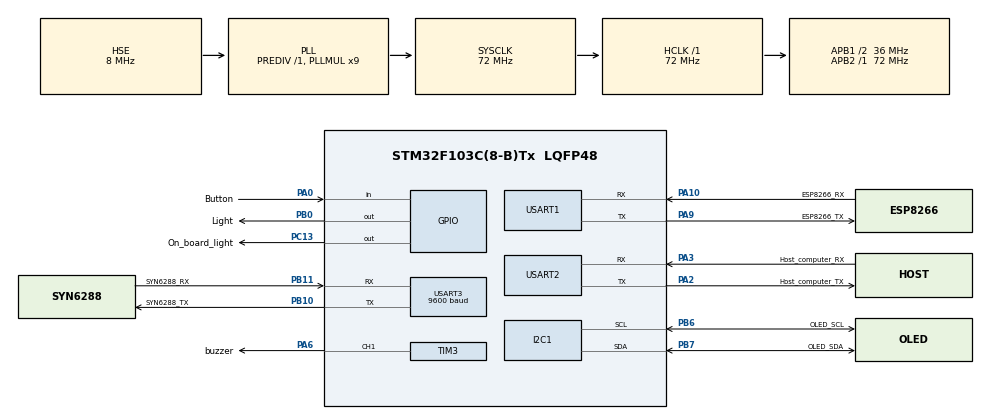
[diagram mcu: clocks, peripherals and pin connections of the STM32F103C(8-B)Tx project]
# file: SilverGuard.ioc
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IWDG.Prescaler=IWDG_PRESCALER_64
Mcu.Family=STM32F1
Mcu.Name=STM32F103C(8-B)Tx
Mcu.Package=LQFP48
NVIC.PriorityGroup=NVIC_PRIORITYGROUP_4
NVIC.TIM2_IRQn=true\:15\:0\:true\:false\:true\:true\:true\:true
NVIC.USART1_IRQn=true\:5\:0\:true\:false\:true\:true\:true\:true
NVIC.USART2_IRQn=true\:5\:0\:true\:false\:true\:true\:true\:true
NVIC.USART3_IRQn=true\:5\:0\:true\:false\:true\:true\:true\:true
PA0-WKUP.GPIO_Label=Button
PA0-WKUP.GPIO_PuPd=GPIO_PULLUP
PA0-WKUP.Signal=GPIO_Input
PA10.GPIO_Label=ESP8266_RX
PA10.Mode=Asynchronous
PA10.Signal=USART1_RX
PA13.Mode=Serial_Wire
PA13.Signal=SYS_JTMS-SWDIO
PA14.Mode=Serial_Wire
PA14.Signal=SYS_JTCK-SWCLK
PA2.GPIO_Label=Host_computer_TX
PA2.Mode=Asynchronous
PA2.Signal=USART2_TX
PA3.GPIO_Label=Host_computer_RX
PA3.Mode=Asynchronous
PA3.Signal=USART2_RX
PA6.GPIO_Label=buzzer
PA6.Signal=S_TIM3_CH1
PA9.GPIO_Label=ESP8266_TX
PA9.Mode=Asynchronous
PA9.Signal=USART1_TX
PB0.GPIO_Label=Light
PB0.Signal=GPIO_Output
PB10.GPIO_Label=SYN6288_TX
PB10.Mode=Asynchronous
PB10.Signal=USART3_TX
PB11.GPIO_Label=SYN6288_RX
PB11.Mode=Asynchronous
PB11.Signal=USART3_RX
PB6.GPIO_Label=OLED_SCL
PB6.Mode=I2C
PB6.Signal=I2C1_SCL
PB7.GPIO_Label=OLED_SDA
PB7.Mode=I2C
PB7.Signal=I2C1_SDA
PC13-TAMPER-RTC.GPIO_Label=On_board_light
PC13-TAMPER-RTC.Signal=GPIO_Output
PD0-OSC_IN.Mode=HSE-External-Oscillator
PD0-OSC_IN.Signal=RCC_OSC_IN
PD1-OSC_OUT.Mode=HSE-External-Oscillator
PD1-OSC_OUT.Signal=RCC_OSC_OUT
ProjectManager.HeapSize=0x200
ProjectManager.StackSize=0x400
ProjectManager.TargetToolchain=MDK-ARM V5.32
RCC.AHBFreq_Value=72000000
RCC.APB1CLKDivider=RCC_HCLK_DIV2
RCC.APB1Freq_Value=36000000
RCC.APB1TimFreq_Value=72000000
RCC.APB2Freq_Value=72000000
RCC.APB2TimFreq_Value=72000000
RCC.HCLKFreq_Value=72000000
RCC.PLLMUL=RCC_PLL_MUL9
RCC.PLLSourceVirtual=RCC_PLLSOURCE_HSE
RCC.SYSCLKFreq_VALUE=72000000
RCC.SYSCLKSource=RCC_SYSCLKSOURCE_PLLCLK
RCC.USBFreq_Value=72000000
SH.S_TIM3_CH1.0=TIM3_CH1,PWM Generation1 CH1
TIM2.AutoReloadPreload=TIM_AUTORELOAD_PRELOAD_ENABLE
TIM2.Period=999
TIM2.Prescaler=71
TIM3.AutoReloadPreload=TIM_AUTORELOAD_PRELOAD_ENABLE
TIM3.Channel-PWM\ Generation1\ CH1=TIM_CHANNEL_1
TIM3.Period=332
TIM3.Prescaler=71
USART1.VirtualMode=VM_ASYNC
USART2.VirtualMode=VM_ASYNC
USART3.BaudRate=9600
USART3.VirtualMode=VM_ASYNC
VP_IWDG_VS_IWDG.Mode=IWDG_Activate
VP_TIM2_VS_ClockSourceINT.Mode=Internal
VP_TIM3_VS_ClockSourceINT.Mode=Internal
board=custom

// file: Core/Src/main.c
/* USER CODE BEGIN Header */
/**
  ******************************************************************************
  * @file           : main.c
  * @brief          : Main program body
  ******************************************************************************
  * @attention
  *
  * Copyright (c) 2026 STMicroelectronics.
  * All rights reserved.
  *
  * This software is licensed under terms that can be found in the LICENSE file
  * in the root directory of this software component.
  * If no LICENSE file comes with this software, it is provided AS-IS.
  *
  ******************************************************************************
  */
/* USER CODE END Header */
#include "main.h"

/* USER CODE BEGIN Includes */
#include <stdbool.h>
#include <string.h>
#include "driver_ssd1306_interface.h"
#include "oled_hz.h"
#include "voice_text.h"
#include "siren_tab.h"
#include "net_secret.h"
/* USER CODE END Includes */

/* USER CODE BEGIN PTD */
#define NET_Q 8
#define NET_RXQ 512

static volatile uint8_t net_rx[NET_RXQ];
static volatile uint16_t net_rx_head;
static volatile uint16_t net_rx_tail;
static uint8_t net_rx8;

typedef enum {/*state_type*/
	offline,
	standby,
	checking,
	pre_alarm,
	alarm,
	alarm_cancel,
} state_type;

typedef enum {/*button_type*/
	idle,
	debounce,
	pressed,
	triggered,
} button_type;

typedef enum {/*led_mode_type*/
	led_on,
	led_off,
} led_mode_type;

typedef enum {/*warn_mode_type*/
	warn_off,
	warn_on,
} warn_mode_type;

typedef enum {/*buzz_mode_type*/
	buzz_off,
	buzz_siren,
} buzz_mode_type;

typedef enum {/*screen_type*/
	scr_offline,
	scr_online,
	scr_checking,
	scr_prealarm,
	scr_alarm,
	scr_cancel,
} screen_type;

typedef enum {/*voice_type*/
	voice_none,
	voice_prealarm,
	voice_alarm,
	voice_cancel,
} voice_type;

typedef enum {/*net_type*/
	net_none,
	net_offline,
	net_online,
	net_alarm,
	net_cancel,
} net_type;

typedef struct {/*state_handle*/
	state_type state;
	uint32_t tick;
	bool flag;
	bool standby_enter;
	bool checking_enter;
	bool pre_alarm_enter;
	bool alarm_enter;
	bool alarm_cancel_enter;
	bool cancel_silent;
	bool offline_enter;
} state_handle;

typedef struct {/*signle_handle*/
	uint8_t windows[5];
	uint8_t output;
	bool flag;
} signle_handle;

typedef struct {/*button_handle*/
	button_type button;
	uint32_t tick;
} button_handle;

typedef struct {/*net_handle*/
	uint8_t state;
	uint8_t hit;
	uint8_t stage;
	uint8_t retry;
	uint8_t head;
	uint8_t tail;
	uint8_t dirty;
	uint32_t timeout;
	uint32_t backoff;
	uint32_t tick;
	const char *last;
	const char *box[NET_Q];
	uint8_t frame[64];
	uint8_t frame_len;
} net_handle;

typedef struct {/*hardware_handle*/
	warn_mode_type light_mode;
	buzz_mode_type buzz_mode;
	ssd1306_handle_t oled;
} hardware_handle;

/* USER CODE END PTD */

/* USER CODE BEGIN PD */

#define NET_TOPIC "SilverGuard_3Xu"
#define MQTT_CLIENT "sg-module-01"
#define BKP_PRE   0xA501
#define BKP_ALARM 0xA502

/* USER CODE END PD */

I2C_HandleTypeDef hi2c1;

IWDG_HandleTypeDef hiwdg;

TIM_HandleTypeDef htim2;
TIM_HandleTypeDef htim3;

UART_HandleTypeDef huart1;
UART_HandleTypeDef huart2;
UART_HandleTypeDef huart3;

/* USER CODE BEGIN PV */
uint32_t now;
state_handle st;
signle_handle sg;
button_handle bt;
net_handle nt;
hardware_handle hd;
/* USER CODE END PV */

void SystemClock_Config(void);
static void MX_GPIO_Init(void);
static void MX_I2C1_Init(void);
static void MX_IWDG_Init(void);
static void MX_TIM3_Init(void);
static void MX_USART1_UART_Init(void);
static void MX_USART2_UART_Init(void);
static void MX_USART3_UART_Init(void);
static void MX_TIM2_Init(void);
/* USER CODE BEGIN PFP */
/*状态机流转*/
static void main_state_machine(void);
static uint8_t analyze_data(uint8_t content[], uint8_t len);
static void detect_button(void);
static void distribute(void);
/*实现层*/
static void on_board_light(led_mode_type mode);
static void oled(screen_type screen);
static void warning_light(warn_mode_type mode);
static void buzzer(buzz_mode_type mode);
static void SYN6288(voice_type voice);
static void ESP8266(net_type net);
/*中断回调函数*/
void HAL_UART_RxCpltCallback(UART_HandleTypeDef *huart);
void HAL_TIM_PeriodElapsedCallback(TIM_HandleTypeDef *htim);
/*辅助函数*/
/*板载灯（PC13）*/
static void led_lighted(led_mode_type led);
/*报警灯（PB0）*/
static void light_lighted(led_mode_type led);
/*OLED（I2C1）*/
static void draw_hz16(uint8_t x, uint8_t y, const uint8_t *glyph);
static void draw_hz16_line(uint8_t x, uint8_t y, const uint8_t *const *glyphs, uint8_t count);
static void oled_init(void);
/*时间片调制（蜂鸣器/报警灯）*/
static void modulate(void);
/*语音（USART3）*/
static void voice_send(const uint8_t *text, uint16_t len);
/*网络（USART1）*/
static void net_flush(void);
static void net_send(const char *cmd);
static uint8_t net_poll(const char *token);
static uint8_t net_len(uint8_t *p, uint16_t v);
static void net_frame_connect(void);
static void net_frame_pub(const char *payload);
static void net_raw_start(void);
static uint8_t net_raw_task(void);
static void net_start(uint8_t step);
static void net_put(const char *msg);
static void net_fail(void);
static void net_task(void);
/*报警记忆（BKP）*/
static void alarm_keep(state_type state);
/*状态簿记*/
static void set_state(state_type state);
/*初始化*/
static void init(void);
/* USER CODE END PFP */

int main(void)
{

  /* MCU Configuration--------------------------------------------------------*/

  /* Reset of all peripherals, Initializes the Flash interface and the Systick. */
  HAL_Init();

  /* Configure the system clock */
  SystemClock_Config();

  /* Initialize all configured peripherals */
  MX_GPIO_Init();
  MX_I2C1_Init();
  MX_IWDG_Init();
  MX_TIM3_Init();
  MX_USART1_UART_Init();
  MX_USART2_UART_Init();
  MX_USART3_UART_Init();
  MX_TIM2_Init();
  /* USER CODE BEGIN 2 */
  init();
  oled_init();
  HAL_UART_Receive_IT(&huart2, &sg.windows[0], 1);
  HAL_UART_Receive_IT(&huart1, &net_rx8, 1);
  HAL_TIM_Base_Start_IT(&htim2);
  HAL_TIM_PWM_Start(&htim3, TIM_CHANNEL_1);
  /* USER CODE END 2 */

  /* Infinite loop */
  while (1)
  {

    /* USER CODE BEGIN 3 */
    now = HAL_GetTick();
    detect_button();
    main_state_machine();
    distribute();
    modulate();
    net_task();
    HAL_IWDG_Refresh(&hiwdg);
  }
  /* USER CODE END 3 */
}

void SystemClock_Config(void)
{
  RCC_OscInitTypeDef RCC_OscInitStruct = {0};
  RCC_ClkInitTypeDef RCC_ClkInitStruct = {0};

  /** Initializes the RCC Oscillators according to the specified parameters
  * in the RCC_OscInitTypeDef structure.
  */
  RCC_OscInitStruct.OscillatorType = RCC_OSCILLATORTYPE_LSI|RCC_OSCILLATORTYPE_HSE;
  RCC_OscInitStruct.HSEState = RCC_HSE_ON;
  RCC_OscInitStruct.HSEPredivValue = RCC_HSE_PREDIV_DIV1;
  RCC_OscInitStruct.HSIState = RCC_HSI_ON;
  RCC_OscInitStruct.LSIState = RCC_LSI_ON;
  RCC_OscInitStruct.PLL.PLLState = RCC_PLL_ON;
  RCC_OscInitStruct.PLL.PLLSource = RCC_PLLSOURCE_HSE;
  RCC_OscInitStruct.PLL.PLLMUL = RCC_PLL_MUL9;
  if (HAL_RCC_OscConfig(&RCC_OscInitStruct) != HAL_OK)
  {
    Error_Handler();
  }

  /** Initializes the CPU, AHB and APB buses clocks
  */
  RCC_ClkInitStruct.ClockType = RCC_CLOCKTYPE_HCLK|RCC_CLOCKTYPE_SYSCLK
                              |RCC_CLOCKTYPE_PCLK1|RCC_CLOCKTYPE_PCLK2;
  RCC_ClkInitStruct.SYSCLKSource = RCC_SYSCLKSOURCE_PLLCLK;
  RCC_ClkInitStruct.AHBCLKDivider = RCC_SYSCLK_DIV1;
  RCC_ClkInitStruct.APB1CLKDivider = RCC_HCLK_DIV2;
  RCC_ClkInitStruct.APB2CLKDivider = RCC_HCLK_DIV1;

  if (HAL_RCC_ClockConfig(&RCC_ClkInitStruct, FLASH_LATENCY_2) != HAL_OK)
  {
    Error_Handler();
  }
}

static void MX_I2C1_Init(void)
{

  hi2c1.Instance = I2C1;
  hi2c1.Init.ClockSpeed = 100000;
  hi2c1.Init.DutyCycle = I2C_DUTYCYCLE_2;
  hi2c1.Init.OwnAddress1 = 0;
  hi2c1.Init.AddressingMode = I2C_ADDRESSINGMODE_7BIT;
  hi2c1.Init.DualAddressMode = I2C_DUALADDRESS_DISABLE;
  hi2c1.Init.OwnAddress2 = 0;
  hi2c1.Init.GeneralCallMode = I2C_GENERALCALL_DISABLE;
  hi2c1.Init.NoStretchMode = I2C_NOSTRETCH_DISABLE;
  if (HAL_I2C_Init(&hi2c1) != HAL_OK)
  {
    Error_Handler();
  }

}

static void MX_IWDG_Init(void)
{

  hiwdg.Instance = IWDG;
  hiwdg.Init.Prescaler = IWDG_PRESCALER_64;
  hiwdg.Init.Reload = 4095;
  if (HAL_IWDG_Init(&hiwdg) != HAL_OK)
  {
    Error_Handler();
  }

}

static void MX_TIM2_Init(void)
{

  TIM_ClockConfigTypeDef sClockSourceConfig = {0};
  TIM_MasterConfigTypeDef sMasterConfig = {0};

  htim2.Instance = TIM2;
  htim2.Init.Prescaler = 71;
  htim2.Init.CounterMode = TIM_COUNTERMODE_UP;
  htim2.Init.Period = 999;
  htim2.Init.ClockDivision = TIM_CLOCKDIVISION_DIV1;
  htim2.Init.AutoReloadPreload = TIM_AUTORELOAD_PRELOAD_ENABLE;
  if (HAL_TIM_Base_Init(&htim2) != HAL_OK)
  {
    Error_Handler();
  }
  sClockSourceConfig.ClockSource = TIM_CLOCKSOURCE_INTERNAL;
  if (HAL_TIM_ConfigClockSource(&htim2, &sClockSourceConfig) != HAL_OK)
  {
    Error_Handler();
  }
  sMasterConfig.MasterOutputTrigger = TIM_TRGO_RESET;
  sMasterConfig.MasterSlaveMode = TIM_MASTERSLAVEMODE_DISABLE;
  if (HAL_TIMEx_MasterConfigSynchronization(&htim2, &sMasterConfig) != HAL_OK)
  {
    Error_Handler();
  }

}

static void MX_TIM3_Init(void)
{

  TIM_ClockConfigTypeDef sClockSourceConfig = {0};
  TIM_MasterConfigTypeDef sMasterConfig = {0};
  TIM_OC_InitTypeDef sConfigOC = {0};

  htim3.Instance = TIM3;
  htim3.Init.Prescaler = 71;
  htim3.Init.CounterMode = TIM_COUNTERMODE_UP;
  htim3.Init.Period = 332;
  htim3.Init.ClockDivision = TIM_CLOCKDIVISION_DIV1;
  htim3.Init.AutoReloadPreload = TIM_AUTORELOAD_PRELOAD_ENABLE;
  if (HAL_TIM_Base_Init(&htim3) != HAL_OK)
  {
    Error_Handler();
  }
  sClockSourceConfig.ClockSource = TIM_CLOCKSOURCE_INTERNAL;
  if (HAL_TIM_ConfigClockSource(&htim3, &sClockSourceConfig) != HAL_OK)
  {
    Error_Handler();
  }
  if (HAL_TIM_PWM_Init(&htim3) != HAL_OK)
  {
    Error_Handler();
  }
  sMasterConfig.MasterOutputTrigger = TIM_TRGO_RESET;
  sMasterConfig.MasterSlaveMode = TIM_MASTERSLAVEMODE_DISABLE;
  if (HAL_TIMEx_MasterConfigSynchronization(&htim3, &sMasterConfig) != HAL_OK)
  {
    Error_Handler();
  }
  sConfigOC.OCMode = TIM_OCMODE_PWM1;
  sConfigOC.Pulse = 333;
  sConfigOC.OCPolarity = TIM_OCPOLARITY_HIGH;
  sConfigOC.OCFastMode = TIM_OCFAST_DISABLE;
  if (HAL_TIM_PWM_ConfigChannel(&htim3, &sConfigOC, TIM_CHANNEL_1) != HAL_OK)
  {
    Error_Handler();
  }
  HAL_TIM_MspPostInit(&htim3);

}

static void MX_USART1_UART_Init(void)
{

  huart1.Instance = USART1;
  huart1.Init.BaudRate = 115200;
  huart1.Init.WordLength = UART_WORDLENGTH_8B;
  huart1.Init.StopBits = UART_STOPBITS_1;
  huart1.Init.Parity = UART_PARITY_NONE;
  huart1.Init.Mode = UART_MODE_TX_RX;
  huart1.Init.HwFlowCtl = UART_HWCONTROL_NONE;
  huart1.Init.OverSampling = UART_OVERSAMPLING_16;
  if (HAL_UART_Init(&huart1) != HAL_OK)
  {
    Error_Handler();
  }

}

static void MX_USART2_UART_Init(void)
{

  huart2.Instance = USART2;
  huart2.Init.BaudRate = 115200;
  huart2.Init.WordLength = UART_WORDLENGTH_8B;
  huart2.Init.StopBits = UART_STOPBITS_1;
  huart2.Init.Parity = UART_PARITY_NONE;
  huart2.Init.Mode = UART_MODE_TX_RX;
  huart2.Init.HwFlowCtl = UART_HWCONTROL_NONE;
  huart2.Init.OverSampling = UART_OVERSAMPLING_16;
  if (HAL_UART_Init(&huart2) != HAL_OK)
  {
    Error_Handler();
  }

}

static void MX_USART3_UART_Init(void)
{

  huart3.Instance = USART3;
  huart3.Init.BaudRate = 9600;
  huart3.Init.WordLength = UART_WORDLENGTH_8B;
  huart3.Init.StopBits = UART_STOPBITS_1;
  huart3.Init.Parity = UART_PARITY_NONE;
  huart3.Init.Mode = UART_MODE_TX_RX;
  huart3.Init.HwFlowCtl = UART_HWCONTROL_NONE;
  huart3.Init.OverSampling = UART_OVERSAMPLING_16;
  if (HAL_UART_Init(&huart3) != HAL_OK)
  {
    Error_Handler();
  }

}

static void MX_GPIO_Init(void)
{
  GPIO_InitTypeDef GPIO_InitStruct = {0};

  /* GPIO Ports Clock Enable */
  __HAL_RCC_GPIOC_CLK_ENABLE();
  __HAL_RCC_GPIOD_CLK_ENABLE();
  __HAL_RCC_GPIOA_CLK_ENABLE();
  __HAL_RCC_GPIOB_CLK_ENABLE();

  /*Configure GPIO pin Output Level */
  HAL_GPIO_WritePin(On_board_light_GPIO_Port, On_board_light_Pin, GPIO_PIN_RESET);

  /*Configure GPIO pin Output Level */
  HAL_GPIO_WritePin(Light_GPIO_Port, Light_Pin, GPIO_PIN_RESET);

  /*Configure GPIO pin : On_board_light_Pin */
  GPIO_InitStruct.Pin = On_board_light_Pin;
  GPIO_InitStruct.Mode = GPIO_MODE_OUTPUT_PP;
  GPIO_InitStruct.Pull = GPIO_NOPULL;
  GPIO_InitStruct.Speed = GPIO_SPEED_FREQ_LOW;
  HAL_GPIO_Init(On_board_light_GPIO_Port, &GPIO_InitStruct);

  /*Configure GPIO pin : Button_Pin */
  GPIO_InitStruct.Pin = Button_Pin;
  GPIO_InitStruct.Mode = GPIO_MODE_INPUT;
  GPIO_InitStruct.Pull = GPIO_PULLUP;
  HAL_GPIO_Init(Button_GPIO_Port, &GPIO_InitStruct);

  /*Configure GPIO pin : Light_Pin */
  GPIO_InitStruct.Pin = Light_Pin;
  GPIO_InitStruct.Mode = GPIO_MODE_OUTPUT_PP;
  GPIO_InitStruct.Pull = GPIO_NOPULL;
  GPIO_InitStruct.Speed = GPIO_SPEED_FREQ_LOW;
  HAL_GPIO_Init(Light_GPIO_Port, &GPIO_InitStruct);

}

/* USER CODE BEGIN 4 */
/*状态机流转*/

static void main_state_machine(void)
{
	if (st.flag == 1 && (st.state == standby || st.state == checking))
		set_state(offline);
	switch(st.state){
	case standby:
		if (bt.button == triggered)
			set_state(alarm);
		else if (sg.output == 1)
			set_state(checking);
		break;
	case checking:
		if (bt.button == triggered)
			set_state(alarm);
		else if (sg.output == 0)
			set_state(standby);
		else if (now - st.tick >= 5000)
			set_state(pre_alarm);
		break;
	case pre_alarm:
		if (bt.button == triggered){
			st.cancel_silent = 1;
			set_state(alarm_cancel);}
		else if (now - st.tick >= 10000)
			set_state(alarm);
		break;
	case alarm:
		if (bt.button == triggered){
			st.cancel_silent = 0;
			set_state(alarm_cancel);}
		break;
	case alarm_cancel:
		if (now - st.tick >= 3000){
			if (st.flag == 1)
				set_state(offline);
			else if (sg.output == 1)
				set_state(checking);
			else
				set_state(standby);}
		break;
	case offline:
		if (bt.button == triggered)
			set_state(alarm);
		else if (st.flag == 0){
			if (sg.output == 1)
				set_state(checking);
			else if (sg.output == 0)
				set_state(standby);
		}
	}
}

static uint8_t analyze_data(uint8_t content[], uint8_t len)
{
	uint8_t i;
	for(i = 1; i < len; i++){
		if (content[i] != content[0]){
			return sg.output;}
		}
	return content[0];
}

static void detect_button(void)
{
	uint8_t level = HAL_GPIO_ReadPin(Button_GPIO_Port, Button_Pin);
	switch (bt.button){
	case idle:
		if (level == GPIO_PIN_RESET){
			bt.tick = HAL_GetTick();
			bt.button = debounce;}
		break;
	case debounce:
		if (now - bt.tick >= 20){
			if (level == GPIO_PIN_RESET){
				bt.button = pressed;
				bt.tick = HAL_GetTick();}
			else {
				bt.button = idle;}
			}
			break;
	case pressed:
		if (now - bt.tick >= 1000){
			bt.button = triggered;}
		else if (level == GPIO_PIN_SET){
			bt.button = idle;}
		break;
	case triggered:
		bt.button = idle;
		break;
	}
}

static void distribute(void)
{
	if (st.standby_enter){
		st.standby_enter = 0;
		oled(scr_online);
		warning_light(warn_off);
		buzzer(buzz_off);
		SYN6288(voice_none);
		ESP8266(net_online);}
	if (st.checking_enter){
		st.checking_enter = 0;
		oled(scr_checking);
		warning_light(warn_off);
		buzzer(buzz_off);
		SYN6288(voice_none);
		ESP8266(net_online);}
	if (st.pre_alarm_enter){
		st.pre_alarm_enter = 0;
		oled(scr_prealarm);
		warning_light(warn_on);
		buzzer(buzz_off);
		SYN6288(voice_prealarm);
		ESP8266(net_none);}
	if (st.alarm_enter){
		st.alarm_enter = 0;
		oled(scr_alarm);
		warning_light(warn_on);
		buzzer(buzz_siren);
		SYN6288(voice_alarm);
		ESP8266(net_alarm);}
	if (st.alarm_cancel_enter){
		st.alarm_cancel_enter = 0;
		oled(scr_cancel);
		warning_light(warn_off);
		buzzer(buzz_off);
		SYN6288(voice_cancel);
		if (st.cancel_silent == 0)
			ESP8266(net_cancel);}
	if (st.offline_enter){
		st.offline_enter = 0;
		memset(sg.windows, 0xFF, sizeof(sg.windows));
		sg.output = 0xFF;
		oled(scr_offline);
		warning_light(warn_off);
		buzzer(buzz_off);
		SYN6288(voice_none);
		ESP8266(net_offline);}
	on_board_light((st.state == offline || st.flag == 1) ? led_off : led_on);
}

/*实现层*/

static void on_board_light(led_mode_type mode)
{
	static led_mode_type before = led_on;

	if (mode == before)
		return;
	before = mode;
	led_lighted(mode);
}

static void oled(screen_type screen)
{
	static uint8_t before_screen = 0xFF;
	static uint8_t before_flag = 0xFF;
	uint8_t flag = (st.flag == 1) ? 1 : 0;

	if ((uint8_t)screen == before_screen && flag == before_flag)
		return;
	before_screen = (uint8_t)screen;
	before_flag = flag;

	ssd1306_clear(&hd.oled);

	if (screen == scr_offline || st.flag == 1)
		ssd1306_gram_write_string(&hd.oled, 0, 0, "offline", 7, 1, SSD1306_FONT_16);
	else
		ssd1306_gram_write_string(&hd.oled, 0, 0, "online", 6, 1, SSD1306_FONT_16);

	switch(screen){
	case scr_checking:
		draw_hz16_line(0, 16, hz_checking_a, sizeof(hz_checking_a) / sizeof(hz_checking_a[0]));
		draw_hz16_line(0, 32, hz_checking_b, sizeof(hz_checking_b) / sizeof(hz_checking_b[0]));
		break;
	case scr_prealarm:
		draw_hz16_line(0, 16, hz_prealarm_a, sizeof(hz_prealarm_a) / sizeof(hz_prealarm_a[0]));
		draw_hz16_line(0, 32, hz_prealarm_b, sizeof(hz_prealarm_b) / sizeof(hz_prealarm_b[0]));
		draw_hz16_line(0, 48, hz_prealarm_c, sizeof(hz_prealarm_c) / sizeof(hz_prealarm_c[0]));
		break;
	case scr_alarm:
		draw_hz16_line(0, 16, hz_alarm_a, sizeof(hz_alarm_a) / sizeof(hz_alarm_a[0]));
		draw_hz16_line(0, 32, hz_alarm_b, sizeof(hz_alarm_b) / sizeof(hz_alarm_b[0]));
		break;
	case scr_cancel:
		draw_hz16_line(0, 16, hz_cancel_a, sizeof(hz_cancel_a) / sizeof(hz_cancel_a[0]));
		break;
	default:
		break;
	}

	ssd1306_gram_update(&hd.oled);
}

static void warning_light(warn_mode_type mode)
{
	hd.light_mode = mode;
}

static void buzzer(buzz_mode_type mode)
{
	hd.buzz_mode = mode;
	if (mode == buzz_off){
		__HAL_TIM_SET_AUTORELOAD(&htim3, 332);
		__HAL_TIM_SET_COMPARE(&htim3, TIM_CHANNEL_1, 333);}
}

static void SYN6288(voice_type voice)
{
	switch(voice){
	case voice_prealarm:
		voice_send(txt_pre_alarm, sizeof(txt_pre_alarm));
		break;
	case voice_alarm:
		voice_send(txt_alarm, sizeof(txt_alarm));
		break;
	case voice_cancel:
		voice_send(txt_cancel, sizeof(txt_cancel));
		break;
	default:
		break;
	}
}

static void ESP8266(net_type net)
{
	const char *msg;

	switch(net){
	case net_offline:
		msg = "offline";
		break;
	case net_online:
		msg = "online";
		break;
	case net_alarm:
		msg = "1";
		break;
	case net_cancel:
		msg = "0";
		break;
	default:
		return;
	}

	if (msg == nt.last)
		return;

	nt.last = msg;
	net_put(msg);
}

/*中断回调函数*/

void HAL_UART_RxCpltCallback(UART_HandleTypeDef *huart)
{
	if (huart->Instance == USART2){
		sg.flag = 1;
		sg.output = analyze_data(sg.windows, 5);
		uint8_t i;
		for(i = 4; i > 0; i--){
			sg.windows[i] = sg.windows[i-1];}
		sg.windows[0] = 0xFF;
		HAL_UART_Receive_IT(&huart2, &sg.windows[0], 1);
		}
	else if (huart->Instance == USART1){
		uint16_t next = (uint16_t)((net_rx_head + 1) % NET_RXQ);
		if (next != net_rx_tail){
			net_rx[net_rx_head] = net_rx8;
			net_rx_head = next;
		}
		HAL_UART_Receive_IT(&huart1, &net_rx8, 1);
		}
}

void HAL_UART_ErrorCallback(UART_HandleTypeDef *huart)
{
	if (huart->Instance == USART1){
		__HAL_UART_CLEAR_OREFLAG(huart);
		__HAL_UART_CLEAR_FEFLAG(huart);
		__HAL_UART_CLEAR_NEFLAG(huart);
		__HAL_UART_CLEAR_PEFLAG(huart);
		HAL_UART_Receive_IT(&huart1, &net_rx8, 1);
	}
	else if (huart->Instance == USART2){
		__HAL_UART_CLEAR_OREFLAG(huart);
		__HAL_UART_CLEAR_FEFLAG(huart);
		__HAL_UART_CLEAR_NEFLAG(huart);
		__HAL_UART_CLEAR_PEFLAG(huart);
		HAL_UART_Receive_IT(&huart2, &sg.windows[0], 1);
	}
}

void HAL_TIM_PeriodElapsedCallback(TIM_HandleTypeDef *htim)
{
	if (htim -> Instance == TIM2){
		static uint8_t i2 = 0;
		i2++;
		if (i2 >= 200){
			i2 = 0;
			if (sg.flag == 1){
				sg.flag = 0;
				st.flag = 0;}
			else {
				st.flag = 1;}
		}
	}
}

/*辅助函数*/

/*板载灯（PC13）*/

static void led_lighted(led_mode_type led_mode)
{
	if (led_mode == led_on)
		HAL_GPIO_WritePin(On_board_light_GPIO_Port, On_board_light_Pin, GPIO_PIN_RESET);
	else
		HAL_GPIO_WritePin(On_board_light_GPIO_Port, On_board_light_Pin, GPIO_PIN_SET);
}

/*报警灯（PB0）*/

static void light_lighted(led_mode_type led_mode)
{
	static led_mode_type before = led_off;

	if (led_mode == before)
		return;
	before = led_mode;

	if (led_mode == led_on)
		HAL_GPIO_WritePin(Light_GPIO_Port, Light_Pin, GPIO_PIN_SET);
	else
		HAL_GPIO_WritePin(Light_GPIO_Port, Light_Pin, GPIO_PIN_RESET);
}

/*OLED（I2C1）*/

static void draw_hz16(uint8_t x, uint8_t y, const uint8_t *glyph)
{
	uint8_t i, bit;

	if ((x + 15 > 127) || (y + 15 > 63)) return;

	for (i = 0; i < 16; i++){
		for (bit = 0; bit < 8; bit++){
			if (glyph[i] & (1 << bit))
				ssd1306_gram_write_point(&hd.oled, x + i, y + bit, 1);
			if (glyph[16 + i] & (1 << bit))
				ssd1306_gram_write_point(&hd.oled, x + i, y + 8 + bit, 1);
		}
	}
}

static void draw_hz16_line(uint8_t x, uint8_t y, const uint8_t *const *glyphs, uint8_t count)
{
	uint8_t i;

	for (i = 0; i < count; i++)
		draw_hz16(x + i * 16, y, glyphs[i]);
}

static void oled_init(void)
{
	DRIVER_SSD1306_LINK_INIT(&hd.oled, ssd1306_handle_t);
	DRIVER_SSD1306_LINK_IIC_INIT(&hd.oled, ssd1306_interface_iic_init);
	DRIVER_SSD1306_LINK_IIC_DEINIT(&hd.oled, ssd1306_interface_iic_deinit);
	DRIVER_SSD1306_LINK_IIC_WRITE(&hd.oled, ssd1306_interface_iic_write);
	DRIVER_SSD1306_LINK_DELAY_MS(&hd.oled, ssd1306_interface_delay_ms);
	DRIVER_SSD1306_LINK_DEBUG_PRINT(&hd.oled, ssd1306_interface_debug_print);
	DRIVER_SSD1306_LINK_SPI_INIT(&hd.oled, ssd1306_interface_spi_init);
	DRIVER_SSD1306_LINK_SPI_DEINIT(&hd.oled, ssd1306_interface_spi_deinit);
	DRIVER_SSD1306_LINK_SPI_WRITE_COMMAND(&hd.oled, ssd1306_interface_spi_write_cmd);
	DRIVER_SSD1306_LINK_SPI_COMMAND_DATA_GPIO_INIT(&hd.oled, ssd1306_interface_spi_cmd_data_gpio_init);
	DRIVER_SSD1306_LINK_SPI_COMMAND_DATA_GPIO_DEINIT(&hd.oled, ssd1306_interface_spi_cmd_data_gpio_deinit);
	DRIVER_SSD1306_LINK_SPI_COMMAND_DATA_GPIO_WRITE(&hd.oled, ssd1306_interface_spi_cmd_data_gpio_write);
	DRIVER_SSD1306_LINK_RESET_GPIO_INIT(&hd.oled, ssd1306_interface_reset_gpio_init);
	DRIVER_SSD1306_LINK_RESET_GPIO_DEINIT(&hd.oled, ssd1306_interface_reset_gpio_deinit);
	DRIVER_SSD1306_LINK_RESET_GPIO_WRITE(&hd.oled, ssd1306_interface_reset_gpio_write);

	ssd1306_set_interface(&hd.oled, SSD1306_INTERFACE_IIC);
	ssd1306_set_addr_pin(&hd.oled, SSD1306_ADDR_SA0_0);
	ssd1306_init(&hd.oled);

	ssd1306_write_cmd(&hd.oled, (uint8_t[]){0xAE}, 1);
	ssd1306_write_cmd(&hd.oled, (uint8_t[]){0xD5, 0x80}, 2);
	ssd1306_write_cmd(&hd.oled, (uint8_t[]){0xA8, 0x3F}, 2);
	ssd1306_write_cmd(&hd.oled, (uint8_t[]){0xD3, 0x00}, 2);
	ssd1306_write_cmd(&hd.oled, (uint8_t[]){0x40}, 1);
	ssd1306_write_cmd(&hd.oled, (uint8_t[]){0x8D, 0x14}, 2);
	ssd1306_write_cmd(&hd.oled, (uint8_t[]){0x20, 0x02}, 2);
	ssd1306_write_cmd(&hd.oled, (uint8_t[]){0xA1}, 1);
	ssd1306_write_cmd(&hd.oled, (uint8_t[]){0xC8}, 1);
	ssd1306_write_cmd(&hd.oled, (uint8_t[]){0xDA, 0x12}, 2);
	ssd1306_write_cmd(&hd.oled, (uint8_t[]){0x81, 0xCF}, 2);
	ssd1306_write_cmd(&hd.oled, (uint8_t[]){0xD9, 0xF1}, 2);
	ssd1306_write_cmd(&hd.oled, (uint8_t[]){0xDB, 0x40}, 2);
	ssd1306_write_cmd(&hd.oled, (uint8_t[]){0xA4, 0xA6}, 2);
	ssd1306_write_cmd(&hd.oled, (uint8_t[]){0xAF}, 1);

	ssd1306_clear(&hd.oled);
	ssd1306_gram_update(&hd.oled);
}

/*时间片调制（蜂鸣器/报警灯）*/

static void modulate(void)
{
	static uint16_t last_arr = 0;
	uint16_t arr;

	if (hd.light_mode == warn_off)
		light_lighted(led_off);
	else
		light_lighted(led_on);

	if (hd.buzz_mode == buzz_off){
		if (last_arr != 0){
			last_arr = 0;
			__HAL_TIM_SET_AUTORELOAD(&htim3, 332);
			__HAL_TIM_SET_COMPARE(&htim3, TIM_CHANNEL_1, 333);}
		return;
	}

	arr = siren_tab[(now % SIREN_T) * SIREN_N / SIREN_T];

	if (arr != last_arr){
		last_arr = arr;
		__HAL_TIM_SET_AUTORELOAD(&htim3, arr);
		__HAL_TIM_SET_COMPARE(&htim3, TIM_CHANNEL_1, arr / 2);}
}

/*语音（USART3）*/

static void voice_send(const uint8_t *text, uint16_t len)
{
	uint8_t frame[48];
	uint16_t n;
	uint16_t i;
	uint8_t ecc = 0;

	if (len > 40)
		return;

	n = len + 3;
	frame[0] = 0xFD;
	frame[1] = (uint8_t)(n >> 8);
	frame[2] = (uint8_t)n;
	frame[3] = 0x01;
	frame[4] = 0x00;
	for (i = 0; i < len; i++)
		frame[5 + i] = text[i];
	for (i = 0; i < 5 + len; i++)
		ecc ^= frame[i];
	frame[5 + len] = ecc;

	HAL_UART_Transmit(&huart3, frame, len + 6, 100);
}

/*网络（USART1）*/

static void net_flush(void)
{
	net_rx_tail = net_rx_head;
}

static void net_send(const char *cmd)
{
	HAL_UART_Transmit(&huart1, (uint8_t *)cmd, (uint16_t)strlen(cmd), 100);
	HAL_UART_Transmit(&huart1, (uint8_t *)"\r\n", 2, 100);
}

static uint8_t net_poll(const char *token)
{
	uint8_t c;
	uint8_t len = (uint8_t)strlen(token);

	while (net_rx_tail != net_rx_head){
		c = net_rx[net_rx_tail];
		net_rx_tail = (uint16_t)((net_rx_tail + 1) % NET_RXQ);
		if (c == token[nt.hit]){
			nt.hit++;
			if (nt.hit >= len){
				nt.hit = 0;
				return 1;
			}
		}
		else {
			nt.hit = (c == token[0]) ? 1 : 0;
		}
	}
	return 0;
}

static uint8_t net_len(uint8_t *p, uint16_t v)
{
	uint8_t n = 0;

	do {
		uint8_t b = (uint8_t)(v % 128);

		v = (uint16_t)(v / 128);
		if (v > 0)
			b |= 0x80;
		p[n] = b;
		n++;
	} while (v > 0);
	return n;
}

static void net_frame_connect(void)
{
	uint8_t n = (uint8_t)strlen(MQTT_CLIENT);
	uint8_t i = 0;

	nt.frame[i] = 0x10;
	i++;
	i += net_len(&nt.frame[i], (uint16_t)(12 + n));
	nt.frame[i] = 0x00; i++;
	nt.frame[i] = 0x04; i++;
	memcpy(&nt.frame[i], "MQTT", 4); i += 4;
	nt.frame[i] = 0x04; i++;
	nt.frame[i] = 0x02; i++;
	nt.frame[i] = 0x00; i++;
	nt.frame[i] = 60; i++;
	nt.frame[i] = 0x00; i++;
	nt.frame[i] = n; i++;
	memcpy(&nt.frame[i], MQTT_CLIENT, n);
	i += n;
	nt.frame_len = i;
}

static void net_frame_pub(const char *payload)
{
	uint16_t topic_len = (uint16_t)strlen(NET_TOPIC);
	uint16_t payload_len = (uint16_t)strlen(payload);
	uint16_t rem = (uint16_t)(topic_len + payload_len + 2);
	uint8_t i = 0;

	nt.frame[i] = 0x30;
	i++;
	i += net_len(&nt.frame[i], rem);
	nt.frame[i] = (uint8_t)(topic_len >> 8); i++;
	nt.frame[i] = (uint8_t)(topic_len & 0xFF); i++;
	memcpy(&nt.frame[i], NET_TOPIC, topic_len);
	i += (uint8_t)topic_len;
	memcpy(&nt.frame[i], payload, payload_len);
	i += (uint8_t)payload_len;
	nt.frame_len = i;
}

static void net_raw_start(void)
{
	char cmd[16];
	uint8_t v = nt.frame_len;
	uint8_t i = 0;

	memcpy(cmd, "AT+CIPSEND=", 11);
	i = 11;
	if (v >= 10){
		cmd[i] = (char)('0' + v / 10);
		i++;
		v = (uint8_t)(v % 10);}
	cmd[i] = (char)('0' + v);
	i++;
	cmd[i] = 0;

	net_flush();
	nt.hit = 0;
	net_send(cmd);
	nt.tick = now;
	nt.stage = 1;
}

static uint8_t net_raw_task(void)
{
	if (nt.stage == 1){
		if (net_poll(">")){
			HAL_UART_Transmit(&huart1, nt.frame, nt.frame_len, 100);
			nt.hit = 0;
			nt.tick = now;
			nt.stage = 2;
			return 0;
		}
		if (now - nt.tick > 1000){
			nt.stage = 0;
			net_fail();
			return 2;}
		return 0;
	}

	if (nt.stage == 2){
		if (net_poll("SEND OK")){
			nt.stage = 0;
			nt.tick = now;
			return 1;
		}
		if (now - nt.tick > 2000){
			nt.stage = 0;
			net_fail();
			return 2;}
	}
	return 0;
}

static void net_start(uint8_t step)
{
	static const char *const cmd[4] = {
		"AT+CWMODE=1",
		"AT+CWJAP=\"" NET_SSID "\",\"" NET_PASS "\"",
		"AT+CIPMUX=0",
		"AT+CIPSTART=\"TCP\",\"broker.emqx.io\",1883",
	};
	static const uint32_t limit[4] = {1000, 20000, 1000, 8000};

	net_flush();
	nt.hit = 0;
	net_send(cmd[step - 1]);
	nt.timeout = limit[step - 1];
	nt.tick = now;
	nt.state = step;
}

static void net_put(const char *msg)
{
	uint8_t next = (nt.tail + 1) % NET_Q;

	if (next == nt.head)
		nt.head = (nt.head + 1) % NET_Q;
	nt.box[nt.tail] = msg;
	nt.tail = next;
	nt.dirty = 1;
}

static void net_fail(void)
{
	nt.retry++;
	nt.backoff = (nt.retry <= 5) ? (2000u << (nt.retry - 1)) : 60000u;
	nt.state = 6;
	nt.tick = now;
}

static void net_task(void)
{
	if (nt.state == 0){
		net_start(1);
		return;
	}

	if (nt.state <= 4){
		if (net_poll((nt.state == 4) ? "CONNECT" : "OK")){
			if (nt.state == 4){
				net_frame_connect();
				net_raw_start();
				nt.state = 7;}
			else
				net_start(nt.state + 1);
			return;
		}
		if (now - nt.tick > nt.timeout)
			net_fail();
		return;
	}

	if (nt.state == 6){
		if (now - nt.tick > nt.backoff)
			net_start((nt.retry >= 3) ? 1 : 3);
		return;
	}

	if (nt.state == 7){
		if (net_raw_task() == 1){
			nt.retry = 0;
			nt.state = 5;}
		return;
	}

	if (nt.stage != 0){
		if (net_raw_task() == 1)
			nt.retry = 0;
		return;
	}

	if (nt.head != nt.tail){
		net_frame_pub(nt.box[nt.head]);
		nt.head = (nt.head + 1) % NET_Q;
		net_raw_start();
		return;
	}

	if (nt.dirty != 0)
		nt.dirty = 0;

	if (now - nt.tick > 30000){
		nt.frame[0] = 0xC0;
		nt.frame[1] = 0x00;
		nt.frame_len = 2;
		net_raw_start();}
}

/*报警记忆（BKP）*/

static void alarm_keep(state_type state)
{
	if (state == pre_alarm)
		BKP->DR1 = BKP_PRE;
	else if (state == alarm)
		BKP->DR1 = BKP_ALARM;
	else if (state == alarm_cancel)
		BKP->DR1 = 0;
}

/*状态簿记*/

static void set_state(state_type state)
{
	st.state = state;
	st.tick = HAL_GetTick();
	switch(state){
	case standby:
		st.standby_enter = 1;
		break;
	case checking:
		st.checking_enter = 1;
		break;
	case pre_alarm:
		st.pre_alarm_enter = 1;
		break;
	case alarm:
		st.alarm_enter = 1;
		break;
	case alarm_cancel:
		st.alarm_cancel_enter = 1;
		break;
	case offline:
		st.offline_enter = 1;
		break;
	}
	alarm_keep(state);
}

/*初始化*/

static void init(void)
{
	__HAL_RCC_PWR_CLK_ENABLE();
	__HAL_RCC_BKP_CLK_ENABLE();
	PWR->CR |= PWR_CR_DBP;
	__HAL_RCC_CLEAR_RESET_FLAGS();

	if (BKP->DR1 == BKP_PRE)
		set_state(pre_alarm);
	else if (BKP->DR1 == BKP_ALARM)
		set_state(alarm);
	else
		set_state(offline);

	st.flag = 0;
	memset(sg.windows, 0xFF, sizeof(sg.windows));
	sg.output = 0xFF;
	sg.flag = 0;
}
/* USER CODE END 4 */

void Error_Handler(void)
{
  __disable_irq();
  while (1)
  {
  }
}
